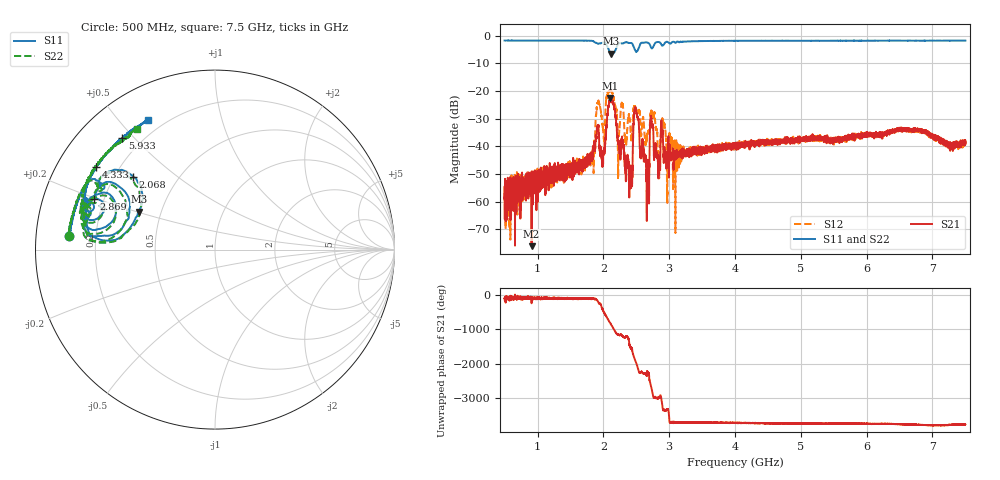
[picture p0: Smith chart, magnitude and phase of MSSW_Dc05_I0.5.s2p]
!Keysight Technologies,M9374A,MY55442783,A.12.55.05
!Date: Wednesday, May 19, 2021 18:55:56
!Correction: S11(Full 2 Port(1,2))
!S21(Full 2 Port(1,2))
!S12(Full 2 Port(1,2))
!S22(Full 2 Port(1,2))
!S2P File: Measurements: S11, S21, S12, S22:
# Hz S  RI  R 50
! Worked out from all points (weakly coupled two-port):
!   7001 points, 500 MHz to 7.5 GHz, reference 50 ohm
!   highest |S21| = -22.50 dB at 2.105 GHz (marker M1); lowest = -76.1 dB at 910 MHz (marker M2)
!   lowest |S11| = -6.5 dB at 2.122 GHz (marker M3), VSWR 2.79, Z = 18.8 + j10.3 ohm
!   |S11| at or under -10 dB: nowhere
!   |S22| runs from -6.8 to -1.7 dB; largest |S21 - S12| = 0.07
!   S11 on the Smith chart (normalised r, x): 500 MHz: 0.10, +0.05; 2.068 GHz: 0.28, +0.35; 2.869 GHz: 0.16, +0.20; 4.333 GHz: 0.12, +0.31; 5.933 GHz: 0.13, +0.46; 7.5 GHz: 0.14, +0.60
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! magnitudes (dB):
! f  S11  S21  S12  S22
! 500 MHz  -1.8  -66.1  -57.0  -1.7
! 910 MHz  -1.8  -76.1  -55.3  -1.7
! 1.667 GHz  -1.8  -48.8  -50.1  -1.8
! 1.839 GHz  -1.9  -41.3  -41.9  -1.9
! 1.921 GHz  -3.0  -32.6  -23.9  -2.9
! 1.989 GHz  -2.6  -47.1  -33.0  -2.5
! 2.068 GHz  -4.3  -28.0  -21.1  -4.3
! 2.105 GHz  -6.2  -22.5  -20.0  -6.3
! 2.122 GHz  -6.5  -23.2  -20.0  -6.7
! 2.222 GHz  -3.1  -38.7  -43.5  -3.0
! 2.408 GHz  -2.7  -48.5  -31.7  -2.6
! 2.496 GHz  -5.7  -26.8  -26.0  -5.7
! 2.662 GHz  -2.5  -56.3  -35.8  -2.5
! 2.735 GHz  -4.6  -31.1  -27.4  -4.7
! 2.834 GHz  -2.3  -50.5  -43.8  -2.3
! 2.869 GHz  -2.7  -40.3  -36.4  -2.6
! 4 GHz  -1.9  -40.6  -40.2  -1.9
! 4.333 GHz  -1.9  -38.6  -38.7  -1.9
! 5.167 GHz  -1.9  -36.8  -36.5  -1.8
! 5.933 GHz  -1.9  -35.8  -35.9  -1.9
! 6.334 GHz  -1.8  -34.6  -35.2  -2.0
! 7.5 GHz  -1.8  -38.7  -38.9  -1.9
